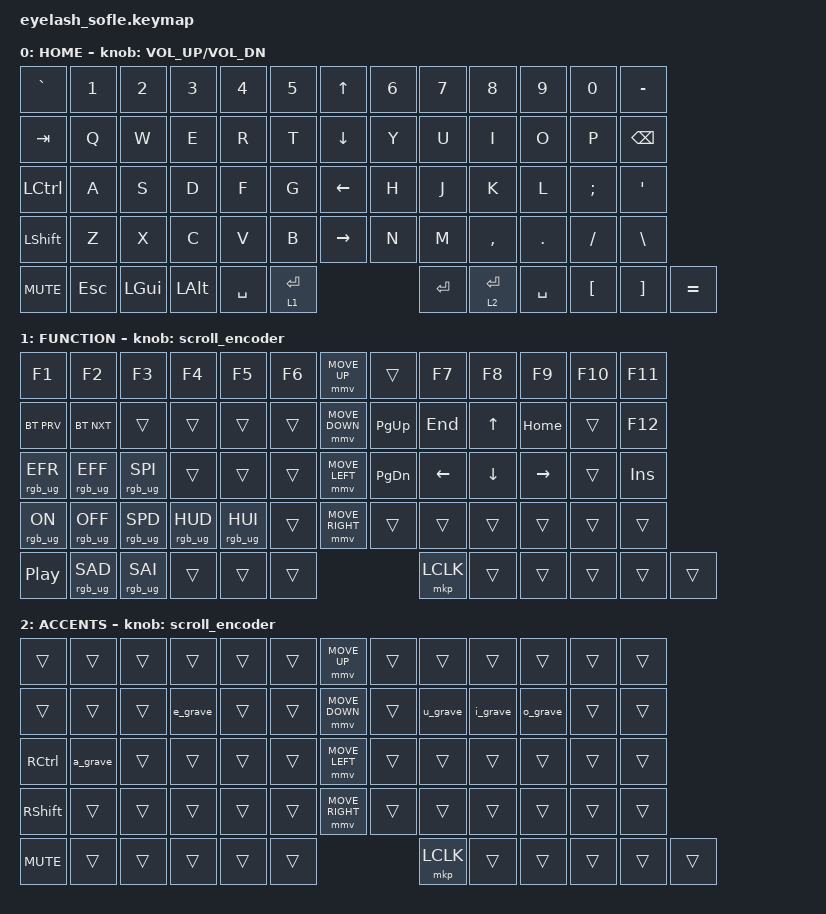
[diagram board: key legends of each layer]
#define ZMK_POINTING_DEFAULT_MOVE_VAL 1200  // Sensitivity X/Y
#define ZMK_POINTING_DEFAULT_SCRL_VAL 25    // Sensitivity Scroll

#include <behaviors.dtsi>
#include <dt-bindings/zmk/keys.h>
#include <dt-bindings/zmk/bt.h>
#include <dt-bindings/zmk/outputs.h>
#include <dt-bindings/zmk/pointing.h>
#include <dt-bindings/zmk/rgb.h>
#include <input/processors.dtsi>
#include <zephyr/dt-bindings/input/input-event-codes.h>

// -----------------------------------------------------------------------------
// MOUSE CONFIGURATION
// -----------------------------------------------------------------------------
&mmv_input_listener { input-processors = <&zip_xy_scaler 2 1>; };
&msc_input_listener { input-processors = <&zip_scroll_scaler 2 1>; };

&msc {
    acceleration-exponent = <1>;
    time-to-max-speed-ms = <100>;
    delay-ms = <0>;
};

&mmv {
    time-to-max-speed-ms = <500>;
    acceleration-exponent = <1>;
    trigger-period-ms = <16>;
};

&soft_off { hold-time-ms = <2000>; };

// -----------------------------------------------------------------------------
// BEHAVIORS & MACROS
// -----------------------------------------------------------------------------
/ { 
    scroll_encoder: scroll_encoder { 
        compatible = "zmk,behavior-sensor-rotate";
        #sensor-binding-cells = <0>;
        bindings = <&msc SCRL_DOWN>, <&msc SCRL_UP>;
        tap-ms = <100>;
    };

    behaviors {
        // Tap = Enter, Hold = Layer 1
        lt_ent_layer1: lt_ent_layer1 {
            compatible = "zmk,behavior-hold-tap";
            label = "LAYER_TAP_ENTER_L1";
            #binding-cells = <2>;
            tapping-term-ms = <200>;
            quick-tap-ms = <0>;
            flavor = "tap-preferred";
            bindings = <&mo>, <&kp>;
        };

        // Tap = Enter, Hold = Layer 2
        lt_ent_layer2: lt_ent_layer2 {
            compatible = "zmk,behavior-hold-tap";
            label = "LAYER_TAP_ENTER_L2";
            #binding-cells = <2>;
            tapping-term-ms = <200>;
            quick-tap-ms = <0>;
            flavor = "tap-preferred";
            bindings = <&mo>, <&kp>;
        };
    };

    macros {
        // Accents for AltGr International (Hold RAlt, Tap Grave, Release RAlt, Tap Letter)
        a_grave: a_grave { 
            compatible = "zmk,behavior-macro"; 
            #binding-cells = <0>; 
            label = "A_GRAVE";
            bindings = <&macro_press &kp RALT>, <&macro_tap &kp GRAVE>, <&macro_release &kp RALT>, <&macro_tap &kp A>;
        };
        e_grave: e_grave { 
            compatible = "zmk,behavior-macro"; 
            #binding-cells = <0>; 
            label = "E_GRAVE";
            bindings = <&macro_press &kp RALT>, <&macro_tap &kp GRAVE>, <&macro_release &kp RALT>, <&macro_tap &kp E>;
        };
        i_grave: i_grave { 
            compatible = "zmk,behavior-macro"; 
            #binding-cells = <0>; 
            label = "I_GRAVE";
            bindings = <&macro_press &kp RALT>, <&macro_tap &kp GRAVE>, <&macro_release &kp RALT>, <&macro_tap &kp I>;
        };
        o_grave: o_grave { 
            compatible = "zmk,behavior-macro"; 
            #binding-cells = <0>; 
            label = "O_GRAVE";
            bindings = <&macro_press &kp RALT>, <&macro_tap &kp GRAVE>, <&macro_release &kp RALT>, <&macro_tap &kp O>;
        };
        u_grave: u_grave { 
            compatible = "zmk,behavior-macro"; 
            #binding-cells = <0>; 
            label = "U_GRAVE";
            bindings = <&macro_press &kp RALT>, <&macro_tap &kp GRAVE>, <&macro_release &kp RALT>, <&macro_tap &kp U>;
        };
    };

    combos {
        compatible = "zmk,combos";
        softoff {
            bindings = <&soft_off>;
            key-positions = <14 28 40>;
        };
    };

// -----------------------------------------------------------------------------
// KEYMAP
// -----------------------------------------------------------------------------
    keymap {
        compatible = "zmk,keymap";

        // Layer 0: Default / Home
        // 5-Way: Up/Down/Left/Right/Enter
        // Thumbs: Space (Outer), Enter/Layer (Inner)
        layer0 {
            display-name = "HOME";
            sensor-bindings = <&inc_dec_kp C_VOLUME_UP C_VOL_DN>;
            bindings = <
&kp GRAVE   &kp N1   &kp N2       &kp N3       &kp N4       &kp N5     &kp UP             &kp N6                   &kp N7       &kp N8     &kp N9   &kp N0    &kp MINUS
&kp TAB     &kp Q    &kp W        &kp E        &kp R        &kp T      &kp DOWN           &kp Y                    &kp U        &kp I      &kp O    &kp P     &kp BSPC
&kp LCTRL   &kp A    &kp S        &kp D        &kp F        &kp G      &kp LEFT           &kp H                    &kp J        &kp K      &kp L    &kp SEMI  &kp APOS
&kp LSHFT   &kp Z    &kp X        &kp C        &kp V        &kp B      &kp RIGHT          &kp N                    &kp M        &kp COMMA  &kp DOT  &kp FSLH  &kp BSLH
&kp C_MUTE  &kp ESC  &kp LEFT_GUI &kp LEFT_ALT &kp SPACE    &lt_ent_layer1 1 ENTER        &kp ENTER                &lt_ent_layer2 2 ENTER   &kp SPACE  &kp LBKT  &kp RBKT &kp EQUAL
            >;
        };

        // Layer 1: Function / Mouse
        // 5-Way: Mouse Move
        layer_1 {
            display-name = "FUNCTION";
            sensor-bindings = <&scroll_encoder>;
            bindings = <
&kp F1           &kp F2           &kp F3           &kp F4           &kp F5           &kp F6     &mmv MOVE_UP     &trans     &kp F7    &kp F8    &kp F9     &kp F10  &kp F11
&bt BT_PRV       &bt BT_NXT       &trans           &trans           &trans           &trans     &mmv MOVE_DOWN   &kp PG_UP  &kp END   &kp UP    &kp HOME   &trans   &kp F12
&rgb_ug RGB_EFR  &rgb_ug RGB_EFF  &rgb_ug RGB_SPI  &trans           &trans           &trans     &mmv MOVE_LEFT   &kp PG_DN  &kp LEFT  &kp DOWN  &kp RIGHT  &trans   &kp INS
&rgb_ug RGB_ON   &rgb_ug RGB_OFF  &rgb_ug RGB_SPD  &rgb_ug RGB_HUD  &rgb_ug RGB_HUI  &trans     &mmv MOVE_RIGHT  &trans     &trans    &trans    &trans     &trans   &trans
&kp C_PP         &rgb_ug RGB_SAD  &rgb_ug RGB_SAI  &trans           &trans           &trans     &mkp LCLK        &trans     &trans    &trans    &trans     &trans
            >;
        };

        // Layer 2: Accents
        // 5-Way: Mouse Move
        layer_2 {
            display-name = "ACCENTS";
            sensor-bindings = <&scroll_encoder>;
            bindings = <
&trans      &trans    &trans    &trans    &trans    &trans    &mmv MOVE_UP     &trans  &trans    &trans    &trans    &trans  &trans
&trans      &trans    &trans    &e_grave  &trans    &trans    &mmv MOVE_DOWN   &trans  &u_grave  &i_grave  &o_grave  &trans  &trans
&kp RCTRL   &a_grave  &trans    &trans    &trans    &trans    &mmv MOVE_LEFT   &trans  &trans    &trans    &trans    &trans  &trans
&kp RSHFT   &trans    &trans    &trans    &trans    &trans    &mmv MOVE_RIGHT  &trans  &trans    &trans    &trans    &trans  &trans
&kp C_MUTE  &trans    &trans    &trans    &trans    &trans    &mkp LCLK        &trans  &trans    &trans    &trans    &trans
            >;
        };
    };
};
